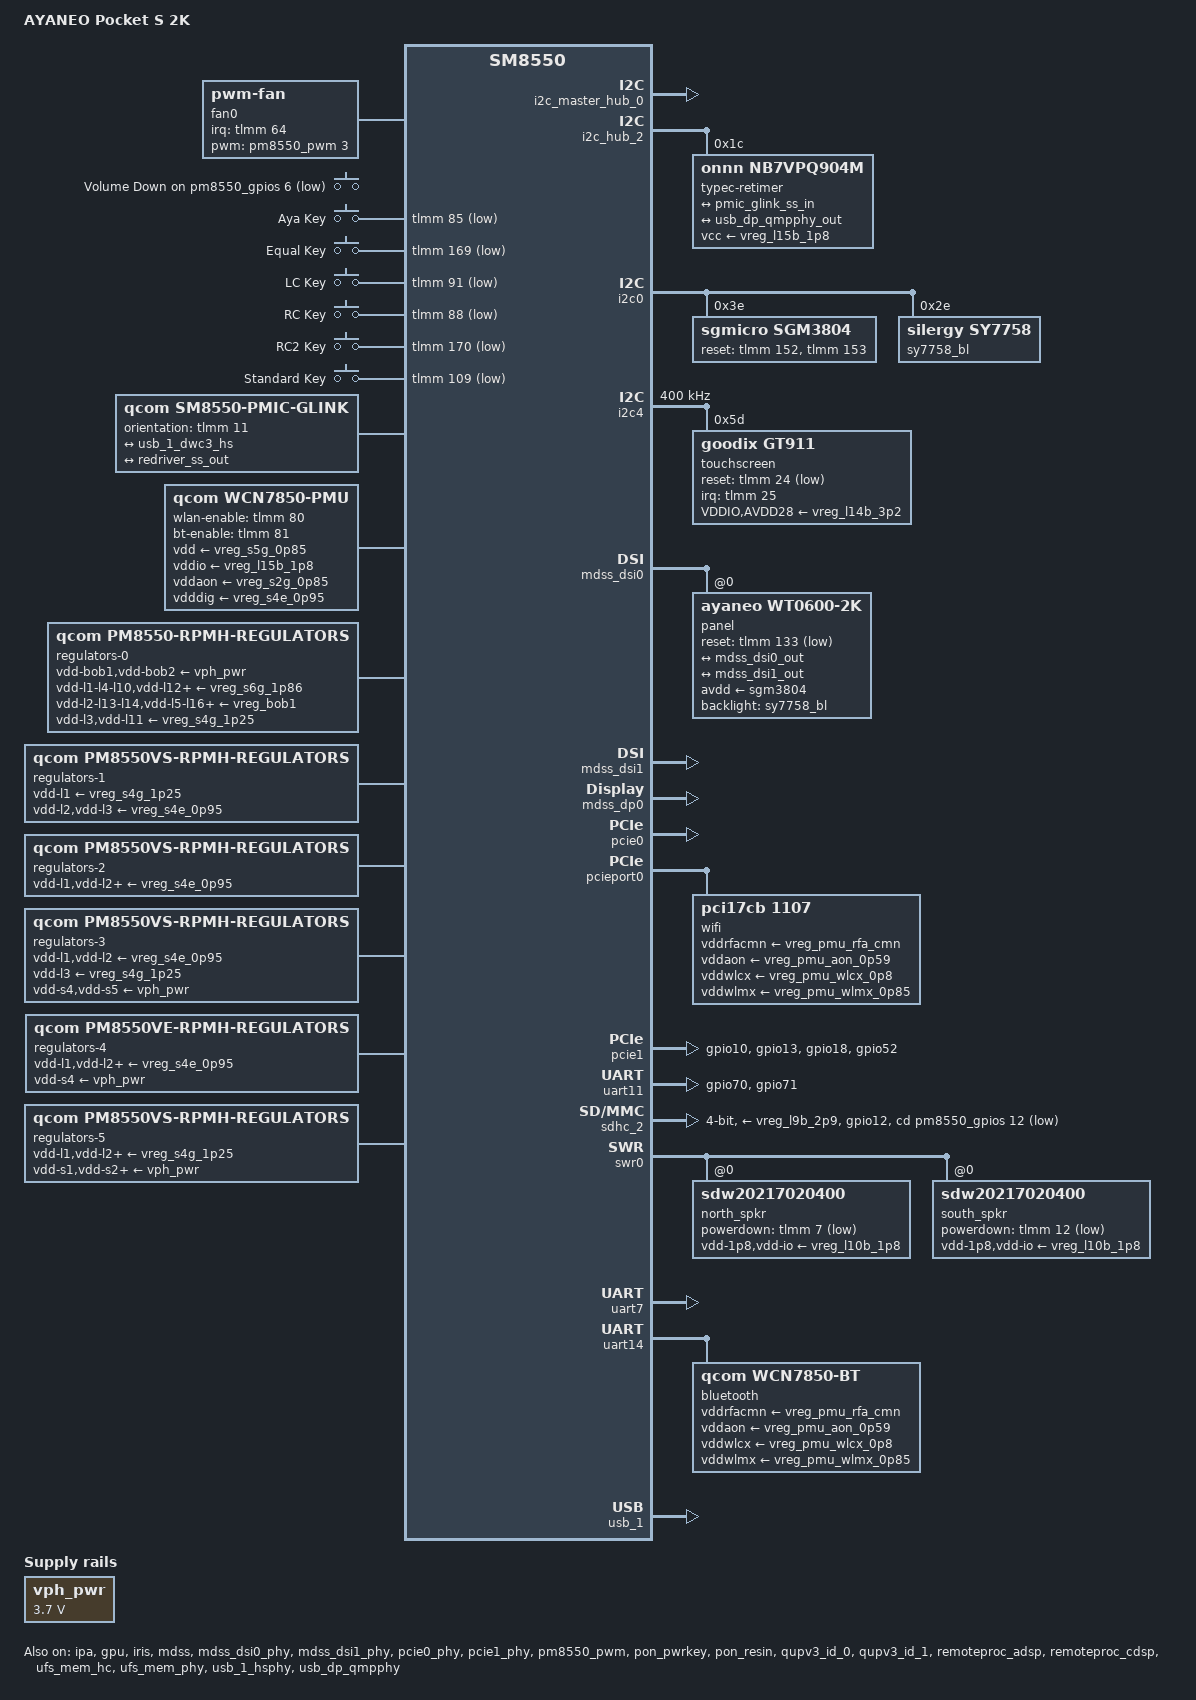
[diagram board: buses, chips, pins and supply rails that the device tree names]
// SPDX-License-Identifier: BSD-3-Clause
/*
 * Copyright (c) 2024 Linaro Limited
 * Copyright (c) 2025, Kancy Joe <kancy2333@outlook.com>
 */

/dts-v1/;

#include <dt-bindings/leds/common.h>
#include <dt-bindings/regulator/qcom,rpmh-regulator.h>
#include "sm8550.dtsi"
#include "pm8550.dtsi"
#include "pm8550b.dtsi"
#define PMK8550VE_SID 5
#include "pm8550ve.dtsi"
#include "pm8550vs.dtsi"
#include "pmk8550.dtsi"

/delete-node/ &hwfence_shbuf;
/delete-node/ &cdsp_secure_heap_mem;

/ {
	model = "AYANEO Pocket S 2K";
	compatible = "ayaneo,pocket-s1", "qcom,sm8550";
	chassis-type = "handset";

	aliases {
		serial0 = &uart7;
		serial1 = &uart14;
		hsuart0 = &uart11;
	};

	fan0: pwm-fan {
		compatible = "pwm-fan";
		status = "okay";
		#cooling-cells = <2>;
		interrupt-parent = <&tlmm>;
		interrupts = <64 IRQ_TYPE_EDGE_FALLING>;
		pinctrl-names = "default", "sleep";
		pinctrl-0 = <&fan0_pwr_active>, <&pwm_fan_ctrl_default>, <&fan0_int_active>;
		pinctrl-1 = <&fan0_pwr_sleep>;
		pwms = <&pm8550_pwm 3 1000000>;
		cooling-levels = <255 230 205 180 155 130 105 80 60 45 32 16 0>;
	};

	gpio-keys {
		compatible = "gpio-keys";

		pinctrl-0 = <&volume_down_n>, <&gamepad_key_n>;
		pinctrl-names = "default";

		key-volume-down {
			label = "Volume Down";
			linux,code = <KEY_VOLUMEDOWN>;
			gpios = <&pm8550_gpios 6 GPIO_ACTIVE_LOW>;
			debounce-interval = <15>;
			linux,can-disable;
			wakeup-source;
		};

		aya_key {
			label = "Aya Key";
			linux,code = <KEY_A>;
			gpios = <&tlmm 85 GPIO_ACTIVE_LOW>;
			debounce-interval = <15>;
			linux,can-disable;
			wakeup-source;
		};

		equal_key {
			label = "Equal Key";
			linux,code = <KEY_EQUAL>;
			gpios = <&tlmm 169 GPIO_ACTIVE_LOW>;
			debounce-interval = <15>;
			linux,can-disable;
			wakeup-source;
		};

		lc_key {
			label = "LC Key";
			linux,code = <KEY_LEFT>;
			gpios = <&tlmm 91 GPIO_ACTIVE_LOW>;
			debounce-interval = <15>;
			linux,can-disable;
			wakeup-source;
		};

		rc_key {
			label = "RC Key";
			linux,code = <KEY_RIGHT>;
			gpios = <&tlmm 88 GPIO_ACTIVE_LOW>;
			debounce-interval = <15>;
			linux,can-disable;
			wakeup-source;
		};

		rc2_key {
			label = "RC2 Key";
			linux,code = <KEY_RIGHTSHIFT>;
			gpios = <&tlmm 170 GPIO_ACTIVE_LOW>;
			debounce-interval = <15>;
			linux,can-disable;
			wakeup-source;
		};

		standard_key {
			label = "Standard Key";
			linux,code = <KEY_YELLOW>;
			gpios = <&tlmm 109 GPIO_ACTIVE_LOW>;
			debounce-interval = <15>;
			linux,can-disable;
			wakeup-source;
		};
	};

	pmic-glink {
		compatible = "qcom,sm8550-pmic-glink", "qcom,pmic-glink";
		#address-cells = <1>;
		#size-cells = <0>;
		orientation-gpios = <&tlmm 11 GPIO_ACTIVE_HIGH>;

		connector@0 {
			compatible = "usb-c-connector";
			reg = <0>;
			power-role = "dual";
			data-role = "dual";

			ports {
				#address-cells = <1>;
				#size-cells = <0>;

				port@0 {
					reg = <0>;

					pmic_glink_hs_in: endpoint {
						remote-endpoint = <&usb_1_dwc3_hs>;
					};
				};

				port@1 {
					reg = <1>;

					pmic_glink_ss_in: endpoint {
						remote-endpoint = <&redriver_ss_out>;
					};
				};
			};
		};
	};

	vph_pwr: regulator-vph-pwr {
		compatible = "regulator-fixed";
		regulator-name = "vph_pwr";
		regulator-min-microvolt = <3700000>;
		regulator-max-microvolt = <3700000>;
		regulator-always-on;
		regulator-boot-on;
	};

	reserved-memory {
		chipinfo_region: memory@81cf4000 {
			reg = <0x00 0x81cf4000 0x00 0x1000>;
			no-map;
		};

		hwfence_shbuf: memory@e6440000 {
			reg = <0x00 0xe6440000 0x00 0x2dd000>;
			no-map;
		};

		splash_region: splash_region@b8000000 { 
			reg = <0x0 0xb8000000 0x0 0x2b00000>;
			label = "cont_splash_region";
			no-map;
		};

		linux,cma {
			compatible = "shared-dma-pool";
			size = <0x0 0x8000000>;
			reusable;
			linux,cma-default;
		};
	};

	sound {
		status = "okay";
		compatible = "qcom,sm8550-sndcard", "qcom,sm8450-sndcard";
		model = "SM8550-APS";
		audio-routing = "SpkrLeft IN", "WSA_SPK1 OUT",
				"SpkrRight IN", "WSA_SPK2 OUT",
				"VA DMIC0", "vdd-micb",
				"VA DMIC1", "vdd-micb",
				"VA DMIC2", "vdd-micb",
				"VA DMIC3", "vdd-micb";

		wsa-dai-link {
			link-name = "WSA Playback";

			cpu {
				sound-dai = <&q6apmbedai WSA_CODEC_DMA_RX_0>;
			};

			codec {
				sound-dai = <&north_spkr>, <&south_spkr>, <&swr0 0>, <&lpass_wsamacro 0>;
			};

			platform {
				sound-dai = <&q6apm>;
			};
		};

		va-dai-link {
			link-name = "VA Capture";

			cpu {
				sound-dai = <&q6apmbedai VA_CODEC_DMA_TX_0>;
			};

			codec {
				sound-dai = <&lpass_vamacro 0>;
			};

			platform {
				sound-dai = <&q6apm>;
			};
		};
	};

	wcn7850-pmu {
		compatible = "qcom,wcn7850-pmu";
		status = "okay";
		pinctrl-names = "default";
		pinctrl-0 = <&wlan_en>, <&bt_default>, <&pmk8550_sleep_clk>;

		wlan-enable-gpios = <&tlmm 80 GPIO_ACTIVE_HIGH>;
		bt-enable-gpios = <&tlmm 81 GPIO_ACTIVE_HIGH>;

		vdd-supply = <&vreg_s5g_0p85>;
		vddio-supply = <&vreg_l15b_1p8>;
		vddaon-supply = <&vreg_s2g_0p85>;
		vdddig-supply = <&vreg_s4e_0p95>;
		vddrfa1p2-supply = <&vreg_s4g_1p25>;
		vddrfa1p8-supply = <&vreg_s6g_1p86>;

		regulators {
			vreg_pmu_rfa_cmn: ldo0 {
				regulator-name = "vreg_pmu_rfa_cmn";
			};

			vreg_pmu_aon_0p59: ldo1 {
				regulator-name = "vreg_pmu_aon_0p59";
			};

			vreg_pmu_wlcx_0p8: ldo2 {
				regulator-name = "vreg_pmu_wlcx_0p8";
			};

			vreg_pmu_wlmx_0p85: ldo3 {
				regulator-name = "vreg_pmu_wlmx_0p85";
			};

			vreg_pmu_btcmx_0p85: ldo4 {
				regulator-name = "vreg_pmu_btcmx_0p85";
			};

			vreg_pmu_rfa_0p8: ldo5 {
				regulator-name = "vreg_pmu_rfa_0p8";
			};

			vreg_pmu_rfa_1p2: ldo6 {
				regulator-name = "vreg_pmu_rfa_1p2";
			};

			vreg_pmu_rfa_1p8: ldo7 {
				regulator-name = "vreg_pmu_rfa_1p8";
			};

			vreg_pmu_pcie_0p9: ldo8 {
				regulator-name = "vreg_pmu_pcie_0p9";
			};

			vreg_pmu_pcie_1p8: ldo9 {
				regulator-name = "vreg_pmu_pcie_1p8";
			};
		};
	};
};

/* DMIC 01 23 */
&lpass_vamacro {
	pinctrl-0 = <&dmic01_default>, <&dmic23_default>;
	pinctrl-names = "default";
	vdd-micb-supply = <&vreg_l10b_1p8>;
	qcom,dmic-sample-rate = <4800000>;
};

&apps_rsc {
	regulators-0 {
		compatible = "qcom,pm8550-rpmh-regulators";
		qcom,pmic-id = "b";

		vdd-bob1-supply = <&vph_pwr>;
		vdd-bob2-supply = <&vph_pwr>;
		vdd-l1-l4-l10-supply = <&vreg_s6g_1p86>;
		vdd-l2-l13-l14-supply = <&vreg_bob1>;
		vdd-l3-supply = <&vreg_s4g_1p25>;
		vdd-l5-l16-supply = <&vreg_bob1>;
		vdd-l6-l7-supply = <&vreg_bob1>;
		vdd-l8-l9-supply = <&vreg_bob1>;
		vdd-l11-supply = <&vreg_s4g_1p25>;
		vdd-l12-supply = <&vreg_s6g_1p86>;
		vdd-l15-supply = <&vreg_s6g_1p86>;
		vdd-l17-supply = <&vreg_bob2>;

		vreg_bob1: bob1 {
			regulator-name = "vreg_bob1";
			regulator-min-microvolt = <3296000>;
			regulator-max-microvolt = <3960000>;
			regulator-initial-mode = <RPMH_REGULATOR_MODE_HPM>;
		};

		vreg_bob2: bob2 {
			regulator-name = "vreg_bob2";
			regulator-min-microvolt = <2720000>;
			regulator-max-microvolt = <3960000>;
			regulator-initial-mode = <RPMH_REGULATOR_MODE_HPM>;
		};

		vreg_l1b_1p8: ldo1 {
			regulator-name = "vreg_l1b_1p8";
			regulator-min-microvolt = <1800000>;
			regulator-max-microvolt = <1800000>;
			regulator-initial-mode = <RPMH_REGULATOR_MODE_HPM>;
		};

		vreg_l2b_3p0: ldo2 {
			regulator-name = "vreg_l2b_3p0";
			regulator-min-microvolt = <3008000>;
			regulator-max-microvolt = <3008000>;
			regulator-initial-mode = <RPMH_REGULATOR_MODE_HPM>;
		};

		vreg_l5b_3p1: ldo5 {
			regulator-name = "vreg_l5b_3p1";
			regulator-min-microvolt = <3104000>;
			regulator-max-microvolt = <3104000>;
			regulator-initial-mode = <RPMH_REGULATOR_MODE_HPM>;
		};

		vreg_l6b_1p8: ldo6 {
			regulator-name = "vreg_l6b_1p8";
			regulator-min-microvolt = <1800000>;
			regulator-max-microvolt = <3008000>;
			regulator-initial-mode = <RPMH_REGULATOR_MODE_HPM>;
		};

		vreg_l7b_1p8: ldo7 {
			regulator-name = "vreg_l7b_1p8";
			regulator-min-microvolt = <1800000>;
			regulator-max-microvolt = <3008000>;
			regulator-initial-mode = <RPMH_REGULATOR_MODE_HPM>;
		};

		vreg_l8b_1p8: ldo8 {
			regulator-name = "vreg_l8b_1p8";
			regulator-min-microvolt = <1800000>;
			regulator-max-microvolt = <3008000>;
			regulator-initial-mode = <RPMH_REGULATOR_MODE_HPM>;
		};

		vreg_l9b_2p9: ldo9 {
			regulator-name = "vreg_l9b_2p9";
			regulator-min-microvolt = <2960000>;
			regulator-max-microvolt = <3008000>;
			regulator-initial-mode = <RPMH_REGULATOR_MODE_HPM>;
		};

		vreg_l10b_1p8: ldo10 {
			regulator-name = "vreg_l10b_1p8";
			regulator-min-microvolt = <1800000>;
			regulator-max-microvolt = <1800000>;
			regulator-initial-mode = <RPMH_REGULATOR_MODE_HPM>;
		};

		vreg_l11b_1p2: ldo11 {
			regulator-name = "vreg_l11b_1p2";
			regulator-min-microvolt = <1200000>;
			regulator-max-microvolt = <1504000>;
			regulator-initial-mode = <RPMH_REGULATOR_MODE_HPM>;
		};

		vreg_l12b_1p8: ldo12 {
			regulator-name = "vreg_l12b_1p8";
			regulator-min-microvolt = <1800000>;
			regulator-max-microvolt = <1800000>;
			regulator-initial-mode = <RPMH_REGULATOR_MODE_HPM>;
			regulator-always-on;
			regulator-boot-on;
		};

		vreg_l13b_3p0: ldo13 {
			regulator-name = "vreg_l13b_3p0";
			regulator-min-microvolt = <3000000>;
			regulator-max-microvolt = <3000000>;
			regulator-initial-mode = <RPMH_REGULATOR_MODE_HPM>;
			regulator-always-on;
			regulator-boot-on;
		};

		vreg_l14b_3p2: ldo14 {
			regulator-name = "vreg_l14b_3p2";
			regulator-min-microvolt = <3200000>;
			regulator-max-microvolt = <3200000>;
			regulator-initial-mode = <RPMH_REGULATOR_MODE_HPM>;
		};

		vreg_l15b_1p8: ldo15 {
			regulator-name = "vreg_l15b_1p8";
			regulator-min-microvolt = <1800000>;
			regulator-max-microvolt = <1800000>;
			regulator-initial-mode = <RPMH_REGULATOR_MODE_HPM>;
		};

		vreg_l16b_2p8: ldo16 {
			regulator-name = "vreg_l16b_2p8";
			regulator-min-microvolt = <2800000>;
			regulator-max-microvolt = <2800000>;
			regulator-initial-mode = <RPMH_REGULATOR_MODE_HPM>;
		};

		vreg_l17b_2p5: ldo17 {
			regulator-name = "vreg_l17b_2p5";
			regulator-min-microvolt = <2504000>;
			regulator-max-microvolt = <2504000>;
			regulator-initial-mode = <RPMH_REGULATOR_MODE_HPM>;
		};
	};

	regulators-1 {
		compatible = "qcom,pm8550vs-rpmh-regulators";
		qcom,pmic-id = "c";

		vdd-l1-supply = <&vreg_s4g_1p25>;
		vdd-l2-supply = <&vreg_s4e_0p95>;
		vdd-l3-supply = <&vreg_s4e_0p95>;

		vreg_l3c_0p9: ldo3 {
			regulator-name = "vreg_l3c_0p9";
			regulator-min-microvolt = <880000>;
			regulator-max-microvolt = <912000>;
			regulator-initial-mode = <RPMH_REGULATOR_MODE_HPM>;
		};
	};

	regulators-2 {
		compatible = "qcom,pm8550vs-rpmh-regulators";
		qcom,pmic-id = "d";

		vdd-l1-supply = <&vreg_s4e_0p95>;
		vdd-l2-supply = <&vreg_s4e_0p95>;
		vdd-l3-supply = <&vreg_s4e_0p95>;

		vreg_l1d_0p88: ldo1 {
			regulator-name = "vreg_l1d_0p88";
			regulator-min-microvolt = <880000>;
			regulator-max-microvolt = <920000>;
			regulator-initial-mode = <RPMH_REGULATOR_MODE_HPM>;
		};

		/* ldo2 supplies SM8550 VDD_LPI_MX */
	};

	regulators-3 {
		compatible = "qcom,pm8550vs-rpmh-regulators";
		qcom,pmic-id = "e";

		vdd-l1-supply = <&vreg_s4e_0p95>;
		vdd-l2-supply = <&vreg_s4e_0p95>;
		vdd-l3-supply = <&vreg_s4g_1p25>;
		vdd-s4-supply = <&vph_pwr>;
		vdd-s5-supply = <&vph_pwr>;

		vreg_s4e_0p95: smps4 {
			regulator-name = "vreg_s4e_0p95";
			regulator-min-microvolt = <904000>;
			regulator-max-microvolt = <984000>;
			regulator-initial-mode = <RPMH_REGULATOR_MODE_HPM>;
		};

		vreg_s5e_1p08: smps5 {
			regulator-name = "vreg_s5e_1p08";
			regulator-min-microvolt = <1080000>;
			regulator-max-microvolt = <1120000>;
			regulator-initial-mode = <RPMH_REGULATOR_MODE_HPM>;
		};

		vreg_l1e_0p88: ldo1 {
			regulator-name = "vreg_l1e_0p88";
			regulator-min-microvolt = <880000>;
			regulator-max-microvolt = <880000>;
			regulator-initial-mode = <RPMH_REGULATOR_MODE_HPM>;
		};

		vreg_l2e_0p9: ldo2 {
			regulator-name = "vreg_l2e_0p9";
			regulator-min-microvolt = <904000>;
			regulator-max-microvolt = <970000>;
			regulator-initial-mode = <RPMH_REGULATOR_MODE_HPM>;
		};

		vreg_l3e_1p2: ldo3 {
			regulator-name = "vreg_l3e_1p2";
			regulator-min-microvolt = <1200000>;
			regulator-max-microvolt = <1200000>;
			regulator-initial-mode = <RPMH_REGULATOR_MODE_HPM>;
		};
	};

	regulators-4 {
		compatible = "qcom,pm8550ve-rpmh-regulators";
		qcom,pmic-id = "f";

		vdd-l1-supply = <&vreg_s4e_0p95>;
		vdd-l2-supply = <&vreg_s4e_0p95>;
		vdd-l3-supply = <&vreg_s4e_0p95>;
		vdd-s4-supply = <&vph_pwr>;

		vreg_s4f_0p5: smps4 {
			regulator-name = "vreg_s4f_0p5";
			regulator-min-microvolt = <500000>;
			regulator-max-microvolt = <700000>;
			regulator-initial-mode = <RPMH_REGULATOR_MODE_HPM>;
		};

		vreg_l1f_0p9: ldo1 {
			regulator-name = "vreg_l1f_0p9";
			regulator-min-microvolt = <912000>;
			regulator-max-microvolt = <912000>;
			regulator-initial-mode = <RPMH_REGULATOR_MODE_HPM>;
		};

		vreg_l2f_0p88: ldo2 {
			regulator-name = "vreg_l2f_0p88";
			regulator-min-microvolt = <880000>;
			regulator-max-microvolt = <912000>;
			regulator-initial-mode = <RPMH_REGULATOR_MODE_HPM>;
		};

		vreg_l3f_0p88: ldo3 {
			regulator-name = "vreg_l3f_0p88";
			regulator-min-microvolt = <880000>;
			regulator-max-microvolt = <912000>;
			regulator-initial-mode = <RPMH_REGULATOR_MODE_HPM>;
		};
	};

	regulators-5 {
		compatible = "qcom,pm8550vs-rpmh-regulators";
		qcom,pmic-id = "g";

		vdd-l1-supply = <&vreg_s4g_1p25>;
		vdd-l2-supply = <&vreg_s4g_1p25>;
		vdd-l3-supply = <&vreg_s4g_1p25>;
		vdd-s1-supply = <&vph_pwr>;
		vdd-s2-supply = <&vph_pwr>;
		vdd-s3-supply = <&vph_pwr>;
		vdd-s4-supply = <&vph_pwr>;
		vdd-s5-supply = <&vph_pwr>;
		vdd-s6-supply = <&vph_pwr>;

		vreg_s1g_1p25: smps1 {
			regulator-name = "vreg_s1g_1p25";
			regulator-min-microvolt = <1200000>;
			regulator-max-microvolt = <1300000>;
			regulator-initial-mode = <RPMH_REGULATOR_MODE_HPM>;
		};

		vreg_s2g_0p85: smps2 {
			regulator-name = "vreg_s2g_0p85";
			regulator-min-microvolt = <800000>;
			regulator-max-microvolt = <1000000>;
			regulator-initial-mode = <RPMH_REGULATOR_MODE_HPM>;
		};

		vreg_s3g_0p8: smps3 {
			regulator-name = "vreg_s3g_0p8";
			regulator-min-microvolt = <300000>;
			regulator-max-microvolt = <1004000>;
			regulator-initial-mode = <RPMH_REGULATOR_MODE_HPM>;
		};

		vreg_s4g_1p25: smps4 {
			regulator-name = "vreg_s4g_1p25";
			regulator-min-microvolt = <1200000>;
			regulator-max-microvolt = <1352000>;
			regulator-initial-mode = <RPMH_REGULATOR_MODE_HPM>;
		};

		vreg_s5g_0p85: smps5 {
			regulator-name = "vreg_s5g_0p85";
			regulator-min-microvolt = <500000>;
			regulator-max-microvolt = <1004000>;
			regulator-initial-mode = <RPMH_REGULATOR_MODE_HPM>;
		};

		vreg_s6g_1p86: smps6 {
			regulator-name = "vreg_s6g_1p86";
			regulator-min-microvolt = <1800000>;
			regulator-max-microvolt = <2000000>;
			regulator-initial-mode = <RPMH_REGULATOR_MODE_HPM>;
		};

		vreg_l1g_1p2: ldo1 {
			regulator-name = "vreg_l1g_1p2";
			regulator-min-microvolt = <1200000>;
			regulator-max-microvolt = <1200000>;
			regulator-initial-mode = <RPMH_REGULATOR_MODE_HPM>;
		};

		vreg_l3g_1p2: ldo3 {
			regulator-name = "vreg_l3g_1p2";
			regulator-min-microvolt = <1200000>;
			regulator-max-microvolt = <1200000>;
			regulator-initial-mode = <RPMH_REGULATOR_MODE_HPM>;
		};
	};
};

&i2c_master_hub_0 {
	status = "okay";
};

&i2c_hub_2 {
	status = "okay";

	typec-retimer@1c {
		compatible = "onnn,nb7vpq904m";
		reg = <0x1c>;
		vcc-supply = <&vreg_l15b_1p8>;

		retimer-switch;
		orientation-switch;

		ports {
			#address-cells = <1>;
			#size-cells = <0>;

			port@0 {
				reg = <0>;

				redriver_ss_out: endpoint {
					remote-endpoint = <&pmic_glink_ss_in>;
				};
			};

			port@1 {
				reg = <1>;

				redriver_ss_in: endpoint {
					data-lanes = <3 2 1 0>;
					remote-endpoint = <&usb_dp_qmpphy_out>;
				};
			};
		};
	};
};

&i2c0 {
	status = "okay";
	/* Screen power */
	sgm3804: regulator@3e {
		reg = <0x3e>;
		compatible = "sgmicro,sgm3804";
		pinctrl-0 = <&panel_pwr_active>;
		pinctrl-1 = <&panel_pwr_sleep>;
		pinctrl-names = "default", "sleep";
		regulator-name = "panel-avdd";
		regulator-min-microvolt = <5000000>;
		regulator-max-microvolt = <5000000>;
		reset-gpios = <&tlmm 152 GPIO_ACTIVE_HIGH>, <&tlmm 153 GPIO_ACTIVE_HIGH>;
	};

	/* Backlight */
	sy7758_bl: sy7758@2e {
		reg = <0x2e>;
		compatible = "silergy,sy7758";
		pinctrl-0 = <&backlight_pwr_active>;
		pinctrl-1 = <&backlight_pwr_sleep>;
		pinctrl-names = "default", "sleep";
		status = "okay";
	};
};


&i2c4 {
	status = "okay";
	clock-frequency = <400000>;

	touchscreen@5d {
		reg = <0x5d>;
		status = "okay";
		compatible = "goodix,gt911";

		interrupt-parent = <&tlmm>;
		interrupts = <25 IRQ_TYPE_EDGE_FALLING>;

		reset-gpios = <&tlmm 24 GPIO_ACTIVE_LOW>;
		VDDIO-supply = <&vreg_l14b_3p2>;
		AVDD28-supply = <&vreg_l14b_3p2>;

		touchscreen-size-x = <1440>;
		touchscreen-size-y = <2560>;

		pinctrl-names = "default";
		pinctrl-0 = <&ts_reset>, <&ts_irq>;
	};
};

&ipa {
	qcom,gsi-loader = "self";
	memory-region = <&ipa_fw_mem>;
	firmware-name = "qcom/sm8550/ayaneo/ps/ipa_fws.mbn";
	status = "okay";
};

&gpi_dma1 {
	status = "okay";
};

&gpu {
	status = "okay";
	zap-shader {
		firmware-name = "qcom/sm8550/ayaneo/a740_zap.mbn";
	};
};

&gpu_opp_table {
/* Additional speedbin for Adreno A32
	719000000  RPMH_REGULATOR_LEVEL_SVS_L2
	746000000 RPMH_REGULATOR_LEVEL_NOM
	794000000 RPMH_REGULATOR_LEVEL_NOM_L1
	827000000 RPMH_REGULATOR_LEVEL_TURBO
	860000000 RPMH_REGULATOR_LEVEL_TURBO_L1 
	1000000000 RPMH_REGULATOR_LEVEL_TURBO_L2
*/
	opp-719000000 {
		opp-hz = /bits/ 64 <719000000>;
		opp-level = <RPMH_REGULATOR_LEVEL_SVS_L2>;
		opp-peak-kBps = <10687500>; // Level 7
	};

	opp-746000000 {
		opp-hz = /bits/ 64 <746000000>;
		opp-level = <RPMH_REGULATOR_LEVEL_NOM>;
		opp-peak-kBps = <10687500>; // Level 7
	};

	opp-794000000 {
		opp-hz = /bits/ 64 <794000000>;
		opp-level = <RPMH_REGULATOR_LEVEL_NOM_L1>;
		opp-peak-kBps = <14398438>; // Level 8
	};

	opp-827000000 {
		opp-hz = /bits/ 64 <827000000>;
		opp-level = <RPMH_REGULATOR_LEVEL_TURBO>;
		opp-peak-kBps = <16500000>; // Level 9
	};

	opp-860000000 {
		opp-hz = /bits/ 64 <860000000>;
		opp-level = <RPMH_REGULATOR_LEVEL_TURBO_L1>;
		opp-peak-kBps = <16500000>; // Level 9
	};

	opp-1000000000 {
		opp-hz = /bits/ 64 <1000000000>;
		opp-level = <RPMH_REGULATOR_LEVEL_TURBO_L2>;
		opp-peak-kBps = <16500000>; // Level 9
	};
};

&iris {
	status = "okay";
	firmware-name = "qcom/sm8550/ayaneo/vpu30_4v.mbn";
};

&mdss {
	status = "okay";
};

/* wt0600 60hz 2k dual dsi dphy panel */
&mdss_dsi0 {
	status = "okay";
	qcom,master-dsi;
	qcom,dual-dsi-mode;
	qcom,sync-dual-dsi;
	vdda-supply = <&vreg_l3e_1p2>;

	panel@0 {
		status = "okay";
		compatible = "ayaneo,wt0600-2k";
		reg = <0>;
		pinctrl-names = "default", "sleep";
		pinctrl-0 = <&sde_dsi_active>, <&sde_te_active>;
		pinctrl-1 = <&sde_dsi_suspend>, <&sde_te_suspend>;

		avdd-supply = <&sgm3804>;

		reset-gpios = <&tlmm 133 GPIO_ACTIVE_LOW>;
		backlight = <&sy7758_bl>;
        rotation = <90>;

		ports {
			#address-cells = <1>;
			#size-cells = <0>;

			port@0 {
				reg = <0>;
				panel0_in_0: endpoint {
					remote-endpoint = <&mdss_dsi0_out>;
				};
			};

			port@1{
				reg = <1>;
				panel0_in_1: endpoint {
					remote-endpoint = <&mdss_dsi1_out>;
				};
			};
		};
	};
};

&mdss_dsi0_out {
	remote-endpoint = <&panel0_in_0>;
	data-lanes = <0 1 2 3>;
};

&mdss_dsi0_phy {
	vdds-supply = <&vreg_l1e_0p88>;
	status = "okay";
};

&mdss_dsi1 {
	vdda-supply = <&vreg_l3e_1p2>;
	qcom,dual-dsi-mode;
	qcom,sync-dual-dsi;
	assigned-clock-parents = <&mdss_dsi0_phy DSI_BYTE_PLL_CLK>, <&mdss_dsi0_phy DSI_PIXEL_PLL_CLK>;
	status = "okay";
};

&mdss_dsi1_out {
	remote-endpoint = <&panel0_in_1>;
	data-lanes = <0 1 2 3>;
};

&mdss_dsi1_phy {
	vdds-supply = <&vreg_l1e_0p88>;
	status = "okay";
};

&mdss_dp0 {
	status = "okay";
};

&pcie0 {
	wake-gpios = <&tlmm 96 GPIO_ACTIVE_HIGH>;
	perst-gpios = <&tlmm 94 GPIO_ACTIVE_LOW>;

	pinctrl-names = "default";
	pinctrl-0 = <&pcie0_default_state>;

	status = "okay";
};

&pcieport0 {
	wifi@0 {
		compatible = "pci17cb,1107";
		reg = <0x10000 0x0 0x0 0x0 0x0>;

		vddrfacmn-supply = <&vreg_pmu_rfa_cmn>;
		vddaon-supply = <&vreg_pmu_aon_0p59>;
		vddwlcx-supply = <&vreg_pmu_wlcx_0p8>;
		vddwlmx-supply = <&vreg_pmu_wlmx_0p85>;
		vddrfa0p8-supply = <&vreg_pmu_rfa_0p8>;
		vddrfa1p2-supply = <&vreg_pmu_rfa_1p2>;
		vddrfa1p8-supply = <&vreg_pmu_rfa_1p8>;
		vddpcie0p9-supply = <&vreg_pmu_pcie_0p9>;
		vddpcie1p8-supply = <&vreg_pmu_pcie_1p8>;
	};
};

&pcie0_phy {
	vdda-phy-supply = <&vreg_l1e_0p88>;
	vdda-pll-supply = <&vreg_l3e_1p2>;

	status = "okay";
};

&pcie1 {
	wake-gpios = <&tlmm 99 GPIO_ACTIVE_HIGH>;
	perst-gpios = <&tlmm 97 GPIO_ACTIVE_LOW>;

	pinctrl-0 = <&pcie1_default_state>, <&upd720201_active>;
	pinctrl-names = "default";

	status = "okay";
};

&pcie1_phy {
	vdda-phy-supply = <&vreg_l3c_0p9>;
	vdda-pll-supply = <&vreg_l3e_1p2>;
	vdda-qref-supply = <&vreg_l1e_0p88>;

	status = "okay";
};

&pm8550_gpios {
	sdc2_card_det_n: sdc2-card-det-state {
		pins = "gpio12";
		function = "normal";
		input-enable;
		output-disable;
		bias-pull-up;
		power-source = <1>; /* 1.8 V */
	};

	volume_down_n: volume-down-n-state {
		pins = "gpio6";
		function = "normal";
		power-source = <1>;
		bias-pull-up;
		input-enable;
	};

	pwm_fan_ctrl_default: pwm-fan-ctrl-default {
		pins = "gpio9";
		function = "func1";
		output-high;
		bias-disable;
		power-source = <0>;
		qcom,drive-strength = <3>; /* PMIC_GPIO_STRENGTH_LOW */
	};
};

&pm8550_pwm {
	status = "okay";

	multi-led {
		color = <LED_COLOR_ID_RGB>;
		function = LED_FUNCTION_STATUS;

		#address-cells = <1>;
		#size-cells = <0>;

		led@1 {
			reg = <1>;
			color = <LED_COLOR_ID_RED>;
		};

		led@2 {
			reg = <2>;
			color = <LED_COLOR_ID_GREEN>;
		};

		led@3 {
			reg = <3>;
			color = <LED_COLOR_ID_BLUE>;
		};
	};
};

&pm8550b_eusb2_repeater {
	vdd18-supply = <&vreg_l15b_1p8>;
	vdd3-supply = <&vreg_l5b_3p1>;
};

&pon_pwrkey {
	status = "okay";
};

&pon_resin {
	/* The text on button is reverted so we need to revert the keycode here. */
	linux,code = <KEY_VOLUMEUP>;
	status = "okay";
};

&pmk8550_gpios {
	pmk8550_sleep_clk: sleep-clk-state {
		pins = "gpio3";
		function = "func1";
		input-disable;
		output-enable;
		bias-disable;
		power-source = <0>;
	};
};

&qupv3_id_0 {
	status = "okay";
};

&qupv3_id_1 {
	status = "okay";
	/* AYANEO Controller serial interface */
	uart11: serial@88c000 {
		compatible = "qcom,geni-uart";
		reg = <0 0x0088c000 0 0x4000>;
		clock-names = "se";
		clocks = <&gcc GCC_QUPV3_WRAP2_S3_CLK>;
		pinctrl-names = "default";
		pinctrl-0 = <&qup_uart11_default>;
		interrupts = <GIC_SPI 585 IRQ_TYPE_LEVEL_HIGH 0>;
		interconnects = <&clk_virt MASTER_QUP_CORE_2 QCOM_ICC_TAG_ALWAYS
						 &clk_virt SLAVE_QUP_CORE_2 QCOM_ICC_TAG_ALWAYS>,
						<&gem_noc MASTER_APPSS_PROC QCOM_ICC_TAG_ACTIVE_ONLY
						&config_noc SLAVE_QUP_2 QCOM_ICC_TAG_ACTIVE_ONLY>;
		interconnect-names = "qup-core", "qup-config";
		operating-points-v2 = <&qup_opp_table_100mhz>;
		power-domains = <&rpmhpd RPMHPD_CX>;
		status = "okay";
	};
};

&remoteproc_adsp {
	firmware-name = "qcom/sm8550/ayaneo/adsp.mdt",
			"qcom/sm8550/ayaneo/adsp_dtb.mdt";
	status = "okay";
};

&remoteproc_cdsp {
	firmware-name = "qcom/sm8550/ayaneo/cdsp.mdt",
			"qcom/sm8550/ayaneo/cdsp_dtb.mdt";
	status = "okay";
};

&sdhc_2 {
	cd-gpios = <&pm8550_gpios 12 GPIO_ACTIVE_LOW>;

	pinctrl-0 = <&sdc2_default>, <&sdc2_card_det_n>;
	pinctrl-1 = <&sdc2_sleep>, <&sdc2_card_det_n>;
	pinctrl-names = "default", "sleep";

	vmmc-supply = <&vreg_l9b_2p9>;
	vqmmc-supply = <&vreg_l8b_1p8>;

	bus-width = <4>;
	no-sdio;
	no-mmc;

	status = "okay";
};

&sleep_clk {
	clock-frequency = <32764>;
};

&swr0 {
	status = "okay";

	/* WSA8845, Speaker North */
	north_spkr: speaker@0,0 {
		compatible = "sdw20217020400";
		reg = <0 0>;

		pinctrl-0 = <&spkr_1_sd_n_active>;
		pinctrl-names = "default";

		powerdown-gpios = <&tlmm 7 GPIO_ACTIVE_LOW>;

		vdd-1p8-supply = <&vreg_l10b_1p8>;
		vdd-io-supply = <&vreg_l10b_1p8>;

		#sound-dai-cells = <0>;
		sound-name-prefix = "SpkrLeft";
		qcom,port-mapping = <1 2 3 7 10 13>;
	};

	/* WSA8845, Speaker South */
	south_spkr: speaker@0,1 {
		compatible = "sdw20217020400";
		reg = <0 1>;

		pinctrl-0 = <&spkr_2_sd_n_active>;
		pinctrl-names = "default";

		powerdown-gpios = <&tlmm 12 GPIO_ACTIVE_LOW>;

		vdd-1p8-supply = <&vreg_l10b_1p8>;
		vdd-io-supply = <&vreg_l10b_1p8>;

		#sound-dai-cells = <0>;
		sound-name-prefix = "SpkrRight";
		qcom,port-mapping = <4 5 6 7 11 13>;
	};
};

&tlmm {
	/* Reserved I/Os for SPI pins */
	gpio-reserved-ranges = <32 8>;

	bt_default: bt-default-state {
		bt-en-pins {
			pins = "gpio81";
			function = "gpio";
			drive-strength = <16>;
			bias-disable;
		};

		sw-ctrl-pins {
			pins = "gpio82";
			function = "gpio";
			bias-pull-down;
		};
	};

	wlan_en: wlan-en-state {
		pins = "gpio80";
		function = "gpio";
		drive-strength = <8>;
		bias-pull-down;
	};

	panel_pwr_active: panel-pwr-active-state {
		pins = "gpio72", "gpio42", "gpio152", "gpio153";
		function = "gpio";
		drive-strength = <8>;
		bias-disable;
		output-high;
	};

	panel_pwr_sleep: panel-pwr-sleep-state {
		pins = "gpio72", "gpio42", "gpio152", "gpio153";
		function = "gpio";
		output-low;
	};

	backlight_pwr_active: backlight-pwr-active-state {
		pins = "gpio41";
		function = "gpio";
		drive-strength = <8>;
		bias-disable;
		output-high;
	};

	backlight_pwr_sleep: backlight-pwr-sleep-state {
		pins = "gpio41";
		function = "gpio";
		output-low;
	};

	sde_dsi_active: sde-dsi-active-state {
		pins = "gpio133";
		function = "gpio";
		drive-strength = <8>;
		bias-disable;
		output-high;
	};

	sde_dsi_suspend: sde-dsi-suspend-state {
		pins = "gpio133";
		function = "gpio";
		drive-strength = <2>;
		bias-pull-down;
	};

	sde_te_active: sde-te-active-state {
		pins = "gpio86";
		function = "mdp_vsync";
		drive-strength = <2>;
		bias-pull-down;
	};

	sde_te_suspend: sde-te-suspend-state {
		pins = "gpio86";
		function = "mdp_vsync";
		drive-strength = <2>;
		bias-pull-down;
	};

	ts_irq: ts-irq-state {
		pins = "gpio25";
		function = "gpio";
		drive-strength = <8>;
		bias-disable;
		input-enable;
	};

	ts_reset: ts-reset-state {
		pins = "gpio24";
		function = "gpio";
		drive-strength = <8>;
		input-enable;
		bias-pull-down;
	};

	spkr_1_sd_n_active: spkr-1-sd-n-active-state {
		pins = "gpio7";
		function = "gpio";
		drive-strength = <16>;
		bias-disable;
		output-high;
	};

	spkr_2_sd_n_active: spkr-2-sd-n-active-state {
		pins = "gpio12";
		function = "gpio";
		drive-strength = <16>;
		bias-disable;
		output-high;
	};

	qup_uart5_default: qup-uart5-default-state {
		/* TX, RX */
		pins = "gpio54", "gpio55";
		function = "qup1_se5";
		drive-strength = <2>;
		bias-disable;
	};

	qup_uart11_default: qup-uart11-default-state {
		/* TX, RX */
		pins = "gpio70", "gpio71";
		function = "qup2_se3";
		drive-strength = <2>;
		bias-disable;
	};

	qup_uart11_sleep: qup-uart11-sleep-state {
		/* TX, RX */
		pins = "gpio70", "gpio71";
		function = "gpio";
		drive-strength = <2>;
		bias-pull-down;
	};

	upd720201_active: upd720201-active {
		pins = "gpio10",  "gpio13", "gpio18", "gpio52";
		function = "gpio";
		drive-strength = <2>;
		bias-pull-up;
		output-high;
	};

	fan0_pwr_active: fan0-pwr-active-state {
		pins = "gpio30","gpio31";
		function = "gpio";
		drive-strength = <2>;
		bias-disable;
		output-high;
	};

	fan0_int_active: fan0-int-active-state {
		pins = "gpio64";
		function = "gpio";
		drive-strength = <2>;
		bias-pull-pull;
		input-enable;
	};

	fan0_pwr_sleep: fan0-pwr-sleep-state {
		pins = "gpio30", "gpio31";
		function = "gpio";
		drive-strength = <2>;
		bias-disable;
		output-low;
	};

	gamepad_key_n: gamepad-key-n-state {
		pins = "gpio85", "gpio88", "gpio91", "gpio169", "gpio170";
		function = "gpio";
		drive-strength = <2>;
		bias-pull-up;
		input-enable;
	};
};

&uart7 {
	status = "okay";
};

&uart14 {
	status = "okay";

	bluetooth {
		compatible = "qcom,wcn7850-bt";

		vddrfacmn-supply = <&vreg_pmu_rfa_cmn>;
		vddaon-supply = <&vreg_pmu_aon_0p59>;
		vddwlcx-supply = <&vreg_pmu_wlcx_0p8>;
		vddwlmx-supply = <&vreg_pmu_wlmx_0p85>;
		vddrfa0p8-supply = <&vreg_pmu_rfa_0p8>;
		vddrfa1p2-supply = <&vreg_pmu_rfa_1p2>;
		vddrfa1p8-supply = <&vreg_pmu_rfa_1p8>;
		local-bd-address = [ F0 74 E4 61 E3 d4 ];

		max-speed = <3200000>;
	};
};

&ufs_mem_hc {
	reset-gpios = <&tlmm 210 GPIO_ACTIVE_LOW>;

	vcc-supply = <&vreg_l17b_2p5>;
	vcc-max-microamp = <1300000>;
	vccq-supply = <&vreg_l1g_1p2>;
	vccq-max-microamp = <1200000>;
	vdd-hba-supply = <&vreg_l3g_1p2>;

	status = "okay";
};

&ufs_mem_phy {
	vdda-phy-supply = <&vreg_l1d_0p88>;
	vdda-pll-supply = <&vreg_l3e_1p2>;

	status = "okay";
};

&usb_1 {
	status = "okay";
};

&usb_1_dwc3_hs {
	remote-endpoint = <&pmic_glink_hs_in>;
};

&usb_1_hsphy {
	vdd-supply = <&vreg_l1e_0p88>;
	vdda12-supply = <&vreg_l3e_1p2>;

	phys = <&pm8550b_eusb2_repeater>;

	status = "okay";
};

&usb_dp_qmpphy {
	vdda-phy-supply = <&vreg_l3e_1p2>;
	vdda-pll-supply = <&vreg_l3f_0p88>;

	status = "okay";
};

&usb_dp_qmpphy_out {
	remote-endpoint = <&redriver_ss_in>;
}; 

&xo_board {
	clock-frequency = <76800000>;
};

// FAN
/ {
	thermal-zones {
		cpu3-top-thermal {
			trips {
				cpu3_top_trip0: trip-point0 { temperature = <38000>; hysteresis = <2000>; type = "passive"; };
				cpu3_top_trip1: trip-point1 { temperature = <42000>; hysteresis = <2000>; type = "passive"; };
				cpu3_top_trip2: trip-point2 { temperature = <46000>; hysteresis = <2000>; type = "passive"; };
				cpu3_top_trip3: trip-point3 { temperature = <50000>; hysteresis = <2000>; type = "passive"; };
				cpu3_top_trip4: trip-point4 { temperature = <55000>; hysteresis = <2000>; type = "passive"; };
				cpu3_top_trip5: trip-point5 { temperature = <70000>; hysteresis = <2000>; type = "passive"; };
				cpu3_top_trip6: trip-point6 { temperature = <75000>; hysteresis = <3000>; type = "passive"; };
				cpu3_top_trip7: trip-point7 { temperature = <80000>; hysteresis = <3000>; type = "passive"; };
			};
			cooling-maps {
				map0 { trip = <&cpu3_top_trip0>; cooling-device = <&fan0 1 1>; };
				map1 { trip = <&cpu3_top_trip1>; cooling-device = <&fan0 2 3>; };
				map2 { trip = <&cpu3_top_trip2>; cooling-device = <&fan0 4 5>; };
				map3 { trip = <&cpu3_top_trip3>; cooling-device = <&fan0 6 6>; };
				map4 { trip = <&cpu3_top_trip4>; cooling-device = <&fan0 7 8>; };
				map5 { trip = <&cpu3_top_trip5>; cooling-device = <&fan0 9 9>; };
				map6 { trip = <&cpu3_top_trip6>; cooling-device = <&fan0 10 10>; };
				map7 { trip = <&cpu3_top_trip7>; cooling-device = <&fan0 11 11>; };
			};
		};

		cpu4-top-thermal {
			trips {
				cpu4_top_trip0: trip-point0 { temperature = <38000>; hysteresis = <2000>; type = "passive"; };
				cpu4_top_trip1: trip-point1 { temperature = <42000>; hysteresis = <2000>; type = "passive"; };
				cpu4_top_trip2: trip-point2 { temperature = <46000>; hysteresis = <2000>; type = "passive"; };
				cpu4_top_trip3: trip-point3 { temperature = <50000>; hysteresis = <2000>; type = "passive"; };
				cpu4_top_trip4: trip-point4 { temperature = <55000>; hysteresis = <2000>; type = "passive"; };
				cpu4_top_trip5: trip-point5 { temperature = <70000>; hysteresis = <2000>; type = "passive"; };
				cpu4_top_trip6: trip-point6 { temperature = <75000>; hysteresis = <3000>; type = "passive"; };
				cpu4_top_trip7: trip-point7 { temperature = <80000>; hysteresis = <3000>; type = "passive"; };
			};
			cooling-maps {
				map0 { trip = <&cpu4_top_trip0>; cooling-device = <&fan0 1 1>; };
				map1 { trip = <&cpu4_top_trip1>; cooling-device = <&fan0 2 3>; };
				map2 { trip = <&cpu4_top_trip2>; cooling-device = <&fan0 4 5>; };
				map3 { trip = <&cpu4_top_trip3>; cooling-device = <&fan0 6 6>; };
				map4 { trip = <&cpu4_top_trip4>; cooling-device = <&fan0 7 8>; };
				map5 { trip = <&cpu4_top_trip5>; cooling-device = <&fan0 9 9>; };
				map6 { trip = <&cpu4_top_trip6>; cooling-device = <&fan0 10 10>; };
				map7 { trip = <&cpu4_top_trip7>; cooling-device = <&fan0 11 11>; };
			};
		};

		cpu5-top-thermal {
			trips {
				cpu5_top_trip0: trip-point0 { temperature = <38000>; hysteresis = <2000>; type = "passive"; };
				cpu5_top_trip1: trip-point1 { temperature = <42000>; hysteresis = <2000>; type = "passive"; };
				cpu5_top_trip2: trip-point2 { temperature = <46000>; hysteresis = <2000>; type = "passive"; };
				cpu5_top_trip3: trip-point3 { temperature = <50000>; hysteresis = <2000>; type = "passive"; };
				cpu5_top_trip4: trip-point4 { temperature = <55000>; hysteresis = <2000>; type = "passive"; };
				cpu5_top_trip5: trip-point5 { temperature = <70000>; hysteresis = <2000>; type = "passive"; };
				cpu5_top_trip6: trip-point6 { temperature = <75000>; hysteresis = <3000>; type = "passive"; };
				cpu5_top_trip7: trip-point7 { temperature = <80000>; hysteresis = <3000>; type = "passive"; };
			};
			cooling-maps {
				map0 { trip = <&cpu5_top_trip0>; cooling-device = <&fan0 1 1>; };
				map1 { trip = <&cpu5_top_trip1>; cooling-device = <&fan0 2 3>; };
				map2 { trip = <&cpu5_top_trip2>; cooling-device = <&fan0 4 5>; };
				map3 { trip = <&cpu5_top_trip3>; cooling-device = <&fan0 6 6>; };
				map4 { trip = <&cpu5_top_trip4>; cooling-device = <&fan0 7 8>; };
				map5 { trip = <&cpu5_top_trip5>; cooling-device = <&fan0 9 9>; };
				map6 { trip = <&cpu5_top_trip6>; cooling-device = <&fan0 10 10>; };
				map7 { trip = <&cpu5_top_trip7>; cooling-device = <&fan0 11 11>; };
			};
		};

		cpu6-top-thermal {
			trips {
				cpu6_top_trip0: trip-point0 { temperature = <38000>; hysteresis = <2000>; type = "passive"; };
				cpu6_top_trip1: trip-point1 { temperature = <42000>; hysteresis = <2000>; type = "passive"; };
				cpu6_top_trip2: trip-point2 { temperature = <46000>; hysteresis = <2000>; type = "passive"; };
				cpu6_top_trip3: trip-point3 { temperature = <50000>; hysteresis = <2000>; type = "passive"; };
				cpu6_top_trip4: trip-point4 { temperature = <55000>; hysteresis = <2000>; type = "passive"; };
				cpu6_top_trip5: trip-point5 { temperature = <70000>; hysteresis = <2000>; type = "passive"; };
				cpu6_top_trip6: trip-point6 { temperature = <75000>; hysteresis = <3000>; type = "passive"; };
				cpu6_top_trip7: trip-point7 { temperature = <80000>; hysteresis = <3000>; type = "passive"; };
			};
			cooling-maps {
				map0 { trip = <&cpu6_top_trip0>; cooling-device = <&fan0 1 1>; };
				map1 { trip = <&cpu6_top_trip1>; cooling-device = <&fan0 2 3>; };
				map2 { trip = <&cpu6_top_trip2>; cooling-device = <&fan0 4 5>; };
				map3 { trip = <&cpu6_top_trip3>; cooling-device = <&fan0 6 6>; };
				map4 { trip = <&cpu6_top_trip4>; cooling-device = <&fan0 7 8>; };
				map5 { trip = <&cpu6_top_trip5>; cooling-device = <&fan0 9 9>; };
				map6 { trip = <&cpu6_top_trip6>; cooling-device = <&fan0 10 10>; };
				map7 { trip = <&cpu6_top_trip7>; cooling-device = <&fan0 11 11>; };
			};
		};

		cpu7-middle-thermal {
			trips {
				cpu7_middle_trip0: trip-point0 { temperature = <38000>; hysteresis = <2000>; type = "passive"; };
				cpu7_middle_trip1: trip-point1 { temperature = <42000>; hysteresis = <2000>; type = "passive"; };
				cpu7_middle_trip2: trip-point2 { temperature = <46000>; hysteresis = <2000>; type = "passive"; };
				cpu7_middle_trip3: trip-point3 { temperature = <50000>; hysteresis = <2000>; type = "passive"; };
				cpu7_middle_trip4: trip-point4 { temperature = <55000>; hysteresis = <2000>; type = "passive"; };
				cpu7_middle_trip5: trip-point5 { temperature = <70000>; hysteresis = <2000>; type = "passive"; };
				cpu7_middle_trip6: trip-point6 { temperature = <75000>; hysteresis = <3000>; type = "passive"; };
				cpu7_middle_trip7: trip-point7 { temperature = <80000>; hysteresis = <3000>; type = "passive"; };
			};
			cooling-maps {
				map0 { trip = <&cpu7_middle_trip0>; cooling-device = <&fan0 1 1>; };
				map1 { trip = <&cpu7_middle_trip1>; cooling-device = <&fan0 2 3>; };
				map2 { trip = <&cpu7_middle_trip2>; cooling-device = <&fan0 4 5>; };
				map3 { trip = <&cpu7_middle_trip3>; cooling-device = <&fan0 6 6>; };
				map4 { trip = <&cpu7_middle_trip4>; cooling-device = <&fan0 7 8>; };
				map5 { trip = <&cpu7_middle_trip5>; cooling-device = <&fan0 9 9>; };
				map6 { trip = <&cpu7_middle_trip6>; cooling-device = <&fan0 10 10>; };
				map7 { trip = <&cpu7_middle_trip7>; cooling-device = <&fan0 11 11>; };
				map8 { trip = <&cpu7_middle_alert0>; cooling-device = <&fan0 12 12>; };
			};
		};

		gpuss0-thermal {
			trips {
				gpuss0_trip0: trip-point0 { temperature = <38000>; hysteresis = <2000>; type = "passive"; };
				gpuss0_trip1: trip-point1 { temperature = <42000>; hysteresis = <2000>; type = "passive"; };
				gpuss0_trip2: trip-point2 { temperature = <46000>; hysteresis = <2000>; type = "passive"; };
				gpuss0_trip3: trip-point3 { temperature = <50000>; hysteresis = <2000>; type = "passive"; };
				gpuss0_trip4: trip-point4 { temperature = <55000>; hysteresis = <2000>; type = "passive"; };
				gpuss0_trip5: trip-point5 { temperature = <70000>; hysteresis = <2000>; type = "passive"; };
				gpuss0_trip6: trip-point6 { temperature = <75000>; hysteresis = <3000>; type = "passive"; };
				gpuss0_trip7: trip-point7 { temperature = <80000>; hysteresis = <3000>; type = "passive"; };
			};
			cooling-maps {
				map0 { trip = <&gpuss0_trip0>; cooling-device = <&fan0 1 1>; };
				map1 { trip = <&gpuss0_trip1>; cooling-device = <&fan0 2 3>; };
				map2 { trip = <&gpuss0_trip2>; cooling-device = <&fan0 4 5>; };
				map3 { trip = <&gpuss0_trip3>; cooling-device = <&fan0 6 6>; };
				map4 { trip = <&gpuss0_trip4>; cooling-device = <&fan0 7 8>; };
				map5 { trip = <&gpuss0_trip5>; cooling-device = <&fan0 9 9>; };
				map6 { trip = <&gpuss0_trip6>; cooling-device = <&fan0 10 10>; };
				map7 { trip = <&gpuss0_trip7>; cooling-device = <&fan0 11 11>; };
			};
		};

		gpuss1-thermal {
			trips {
				gpuss1_trip0: trip-point0 { temperature = <38000>; hysteresis = <2000>; type = "passive"; };
				gpuss1_trip1: trip-point1 { temperature = <42000>; hysteresis = <2000>; type = "passive"; };
				gpuss1_trip2: trip-point2 { temperature = <46000>; hysteresis = <2000>; type = "passive"; };
				gpuss1_trip3: trip-point3 { temperature = <50000>; hysteresis = <2000>; type = "passive"; };
				gpuss1_trip4: trip-point4 { temperature = <55000>; hysteresis = <2000>; type = "passive"; };
				gpuss1_trip5: trip-point5 { temperature = <70000>; hysteresis = <2000>; type = "passive"; };
				gpuss1_trip6: trip-point6 { temperature = <75000>; hysteresis = <3000>; type = "passive"; };
				gpuss1_trip7: trip-point7 { temperature = <80000>; hysteresis = <3000>; type = "passive"; };
			};
			cooling-maps {
				map0 { trip = <&gpuss1_trip0>; cooling-device = <&fan0 1 1>; };
				map1 { trip = <&gpuss1_trip1>; cooling-device = <&fan0 2 3>; };
				map2 { trip = <&gpuss1_trip2>; cooling-device = <&fan0 4 5>; };
				map3 { trip = <&gpuss1_trip3>; cooling-device = <&fan0 6 6>; };
				map4 { trip = <&gpuss1_trip4>; cooling-device = <&fan0 7 8>; };
				map5 { trip = <&gpuss1_trip5>; cooling-device = <&fan0 9 9>; };
				map6 { trip = <&gpuss1_trip6>; cooling-device = <&fan0 10 10>; };
				map7 { trip = <&gpuss1_trip7>; cooling-device = <&fan0 11 11>; };
			};
		};

		gpuss2-thermal {
			trips {
				gpuss2_trip0: trip-point0 { temperature = <38000>; hysteresis = <2000>; type = "passive"; };
				gpuss2_trip1: trip-point1 { temperature = <42000>; hysteresis = <2000>; type = "passive"; };
				gpuss2_trip2: trip-point2 { temperature = <46000>; hysteresis = <2000>; type = "passive"; };
				gpuss2_trip3: trip-point3 { temperature = <50000>; hysteresis = <2000>; type = "passive"; };
				gpuss2_trip4: trip-point4 { temperature = <55000>; hysteresis = <2000>; type = "passive"; };
				gpuss2_trip5: trip-point5 { temperature = <70000>; hysteresis = <2000>; type = "passive"; };
				gpuss2_trip6: trip-point6 { temperature = <75000>; hysteresis = <3000>; type = "passive"; };
				gpuss2_trip7: trip-point7 { temperature = <80000>; hysteresis = <3000>; type = "passive"; };
			};
			cooling-maps {
				map0 { trip = <&gpuss2_trip0>; cooling-device = <&fan0 1 1>; };
				map1 { trip = <&gpuss2_trip1>; cooling-device = <&fan0 2 3>; };
				map2 { trip = <&gpuss2_trip2>; cooling-device = <&fan0 4 5>; };
				map3 { trip = <&gpuss2_trip3>; cooling-device = <&fan0 6 6>; };
				map4 { trip = <&gpuss2_trip4>; cooling-device = <&fan0 7 8>; };
				map5 { trip = <&gpuss2_trip5>; cooling-device = <&fan0 9 9>; };
				map6 { trip = <&gpuss2_trip6>; cooling-device = <&fan0 10 10>; };
				map7 { trip = <&gpuss2_trip7>; cooling-device = <&fan0 11 11>; };
			};
		};

		gpuss3-thermal {
			trips {
				gpuss3_trip0: trip-point0 { temperature = <38000>; hysteresis = <2000>; type = "passive"; };
				gpuss3_trip1: trip-point1 { temperature = <42000>; hysteresis = <2000>; type = "passive"; };
				gpuss3_trip2: trip-point2 { temperature = <46000>; hysteresis = <2000>; type = "passive"; };
				gpuss3_trip3: trip-point3 { temperature = <50000>; hysteresis = <2000>; type = "passive"; };
				gpuss3_trip4: trip-point4 { temperature = <55000>; hysteresis = <2000>; type = "passive"; };
				gpuss3_trip5: trip-point5 { temperature = <70000>; hysteresis = <2000>; type = "passive"; };
				gpuss3_trip6: trip-point6 { temperature = <75000>; hysteresis = <3000>; type = "passive"; };
				gpuss3_trip7: trip-point7 { temperature = <80000>; hysteresis = <3000>; type = "passive"; };
			};
			cooling-maps {
				map0 { trip = <&gpuss3_trip0>; cooling-device = <&fan0 1 1>; };
				map1 { trip = <&gpuss3_trip1>; cooling-device = <&fan0 2 3>; };
				map2 { trip = <&gpuss3_trip2>; cooling-device = <&fan0 4 5>; };
				map3 { trip = <&gpuss3_trip3>; cooling-device = <&fan0 6 6>; };
				map4 { trip = <&gpuss3_trip4>; cooling-device = <&fan0 7 8>; };
				map5 { trip = <&gpuss3_trip5>; cooling-device = <&fan0 9 9>; };
				map6 { trip = <&gpuss3_trip6>; cooling-device = <&fan0 10 10>; };
				map7 { trip = <&gpuss3_trip7>; cooling-device = <&fan0 11 11>; };
			};
		};

		gpuss4-thermal {
			trips {
				gpuss4_trip0: trip-point0 { temperature = <38000>; hysteresis = <2000>; type = "passive"; };
				gpuss4_trip1: trip-point1 { temperature = <42000>; hysteresis = <2000>; type = "passive"; };
				gpuss4_trip2: trip-point2 { temperature = <46000>; hysteresis = <2000>; type = "passive"; };
				gpuss4_trip3: trip-point3 { temperature = <50000>; hysteresis = <2000>; type = "passive"; };
				gpuss4_trip4: trip-point4 { temperature = <55000>; hysteresis = <2000>; type = "passive"; };
				gpuss4_trip5: trip-point5 { temperature = <70000>; hysteresis = <2000>; type = "passive"; };
				gpuss4_trip6: trip-point6 { temperature = <75000>; hysteresis = <3000>; type = "passive"; };
				gpuss4_trip7: trip-point7 { temperature = <80000>; hysteresis = <3000>; type = "passive"; };
			};
			cooling-maps {
				map0 { trip = <&gpuss4_trip0>; cooling-device = <&fan0 1 1>; };
				map1 { trip = <&gpuss4_trip1>; cooling-device = <&fan0 2 3>; };
				map2 { trip = <&gpuss4_trip2>; cooling-device = <&fan0 4 5>; };
				map3 { trip = <&gpuss4_trip3>; cooling-device = <&fan0 6 6>; };
				map4 { trip = <&gpuss4_trip4>; cooling-device = <&fan0 7 8>; };
				map5 { trip = <&gpuss4_trip5>; cooling-device = <&fan0 9 9>; };
				map6 { trip = <&gpuss4_trip6>; cooling-device = <&fan0 10 10>; };
				map7 { trip = <&gpuss4_trip7>; cooling-device = <&fan0 11 11>; };
			};
		};

		gpuss5-thermal {
			trips {
				gpuss5_trip0: trip-point0 { temperature = <38000>; hysteresis = <2000>; type = "passive"; };
				gpuss5_trip1: trip-point1 { temperature = <42000>; hysteresis = <2000>; type = "passive"; };
				gpuss5_trip2: trip-point2 { temperature = <46000>; hysteresis = <2000>; type = "passive"; };
				gpuss5_trip3: trip-point3 { temperature = <50000>; hysteresis = <2000>; type = "passive"; };
				gpuss5_trip4: trip-point4 { temperature = <55000>; hysteresis = <2000>; type = "passive"; };
				gpuss5_trip5: trip-point5 { temperature = <70000>; hysteresis = <2000>; type = "passive"; };
				gpuss5_trip6: trip-point6 { temperature = <75000>; hysteresis = <3000>; type = "passive"; };
				gpuss5_trip7: trip-point7 { temperature = <80000>; hysteresis = <3000>; type = "passive"; };
			};
			cooling-maps {
				map0 { trip = <&gpuss5_trip0>; cooling-device = <&fan0 1 1>; };
				map1 { trip = <&gpuss5_trip1>; cooling-device = <&fan0 2 3>; };
				map2 { trip = <&gpuss5_trip2>; cooling-device = <&fan0 4 5>; };
				map3 { trip = <&gpuss5_trip3>; cooling-device = <&fan0 6 6>; };
				map4 { trip = <&gpuss5_trip4>; cooling-device = <&fan0 7 8>; };
				map5 { trip = <&gpuss5_trip5>; cooling-device = <&fan0 9 9>; };
				map6 { trip = <&gpuss5_trip6>; cooling-device = <&fan0 10 10>; };
				map7 { trip = <&gpuss5_trip7>; cooling-device = <&fan0 11 11>; };
			};
		};

		gpuss6-thermal {
			trips {
				gpuss6_trip0: trip-point0 { temperature = <38000>; hysteresis = <2000>; type = "passive"; };
				gpuss6_trip1: trip-point1 { temperature = <42000>; hysteresis = <2000>; type = "passive"; };
				gpuss6_trip2: trip-point2 { temperature = <46000>; hysteresis = <2000>; type = "passive"; };
				gpuss6_trip3: trip-point3 { temperature = <50000>; hysteresis = <2000>; type = "passive"; };
				gpuss6_trip4: trip-point4 { temperature = <55000>; hysteresis = <2000>; type = "passive"; };
				gpuss6_trip5: trip-point5 { temperature = <70000>; hysteresis = <2000>; type = "passive"; };
				gpuss6_trip6: trip-point6 { temperature = <75000>; hysteresis = <3000>; type = "passive"; };
				gpuss6_trip7: trip-point7 { temperature = <80000>; hysteresis = <3000>; type = "passive"; };
			};
			cooling-maps {
				map0 { trip = <&gpuss6_trip0>; cooling-device = <&fan0 1 1>; };
				map1 { trip = <&gpuss6_trip1>; cooling-device = <&fan0 2 3>; };
				map2 { trip = <&gpuss6_trip2>; cooling-device = <&fan0 4 5>; };
				map3 { trip = <&gpuss6_trip3>; cooling-device = <&fan0 6 6>; };
				map4 { trip = <&gpuss6_trip4>; cooling-device = <&fan0 7 8>; };
				map5 { trip = <&gpuss6_trip5>; cooling-device = <&fan0 9 9>; };
				map6 { trip = <&gpuss6_trip6>; cooling-device = <&fan0 10 10>; };
				map7 { trip = <&gpuss6_trip7>; cooling-device = <&fan0 11 11>; };
			};
		};
	};
};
